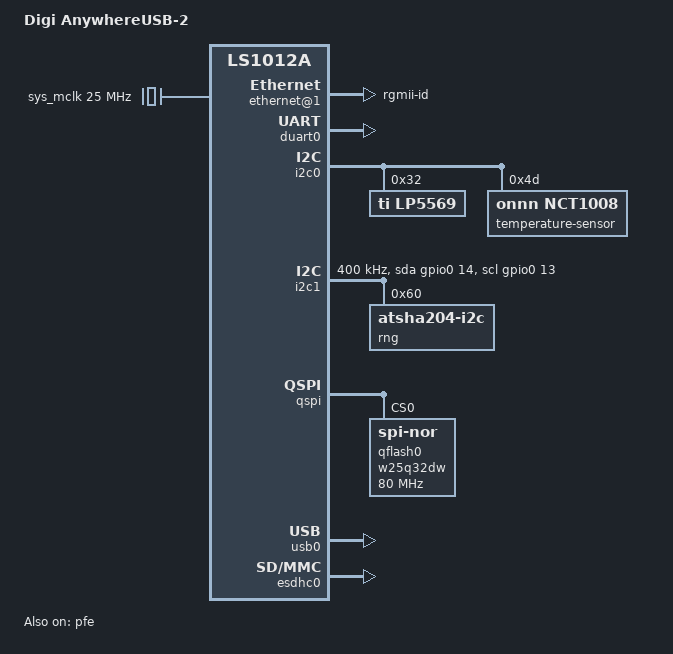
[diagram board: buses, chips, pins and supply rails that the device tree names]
// SPDX-License-Identifier: (GPL-2.0+ OR MIT)
/*
 * Device Tree Include file for Digi AnywhereUSB-2.
 *
 * Copyright 2016 Freescale Semiconductor, Inc.
 * Copyright 2018 Digi Inc.
 *
 * Mingkai Hu <mingkai.hu@nxp.com>
 * Greg Ungerer <gregory.ungerer@digi.com>
 */

/dts-v1/;

#include "fsl-ls1012a.dtsi"
#include <dt-bindings/interrupt-controller/arm-gic.h>
#include <dt-bindings/gpio/gpio.h>
#include <dt-bindings/leds/common.h>
#include "fsl-pstore-512MB.dtsi"

/ {
	model = "Digi AnywhereUSB-2";
	compatible = "digi,anywhereusb2", "fsl,ls1012a";

	aliases {
		serial0 = &duart0;
	};

	chosen {
		stdout-path = "serial0:115200n8";
	};

	sys_mclk: clock-mclk {
		compatible = "fixed-clock";
		#clock-cells = <0>;
		clock-frequency = <25000000>;
	};

	soc {
		rcpm@1ee2000 {
			compatible = "fsl,ls1012a-rcpm", "fsl,qoriq-rcpm-2.1";
			reg = <0x0 0x1ee2000 0x0 0x1000>;
			fsl,#rcpm-wakeup-cells = <1>;
		};
	};

	reserved-memory {
		#address-cells = <2>;
		#size-cells = <2>;
		ranges;

		pfe_reserved: packetbuffer@83400000 {
			reg = <0 0x83400000 0 0xc00000>;
		};
	};

	pfe: pfe@04000000 {
		status = "okay";
		compatible = "fsl,pfe";
		reg =   <0x0 0x04000000 0x0 0xc00000>,	/* AXI 16M */
			<0x0 0x83400000 0x0 0xc00000>;  /* PFE DDR 12M */
		reg-names = "pfe", "pfe-ddr";
		fsl,pfe-num-interfaces = <0x2>;
		interrupts = <0 172 0x4>,    /* HIF interrupt */
			     <0 173 0x4>,    /*HIF_NOCPY interrupt */
			     <0 174 0x4>;    /* WoL interrupt */
		interrupt-names = "pfe_hif", "pfe_hif_nocpy", "pfe_wol";
		memory-region = <&pfe_reserved>;
		fsl,pfe-scfg = <&scfg 0>;
		fsl,rcpm-wakeup = <&rcpm 0xf0000020>;
		clocks = <&clockgen 4 0>;
		clock-names = "pfe";
	};
};

&duart0 {
	status = "okay";
};

&i2c0 {
	status = "okay";

	lp5569:lp5569@32 {
		compatible = "ti,lp5569";
		reg = <0x32>;
		label = "lp5569";
		clock-mode = /bits/ 8 <1>;  /* internal */
		#address-cells = <1>;
		#size-cells = <0>;

		chan0 {
			chan-name = "pwr1b";
			led-cur = /bits/ 8 <0x18>;  /* 2.4mA */
			max-cur = /bits/ 8 <0x18>;  /* 2.4mA */
			invert = /bits/ 8 <0x01>;   /* inverted LED */
			color = <LED_COLOR_ID_BLUE>;
			reg = <0>;
			linux,default-trigger = "timer";
		};

		chan1 {
			chan-name = "pwr1g";
			led-cur = /bits/ 8 <0x03>;  /* 0.3mA */
			max-cur = /bits/ 8 <0x18>;  /* 2.4mA */
			color = <LED_COLOR_ID_GREEN>;
			reg = <1>;
			linux,default-trigger = "timer";
		};

		chan2 {
			chan-name = "pwr1r";
			led-cur = /bits/ 8 <0x18>;  /* 2.4mA */
			max-cur = /bits/ 8 <0x18>;  /* 2.4mA */
			color = <LED_COLOR_ID_RED>;
			reg = <2>;
			linux,default-trigger = "timer";
		};

		chan3 {
			chan-name = "b01";
			led-cur = /bits/ 8 <0x18>;  /* 2.4mA */
			max-cur = /bits/ 8 <0x18>;  /* 2.4mA */
			color = <LED_COLOR_ID_BLUE>;
			reg = <3>;
			linux,default-trigger = "timer";
		};

		chan4 {
			chan-name = "g01";
			led-cur = /bits/ 8 <0x03>;  /* 0.3mA */
			max-cur = /bits/ 8 <0x18>;  /* 2.4mA */
			color = <LED_COLOR_ID_GREEN>;
			reg = <4>;
			linux,default-trigger = "timer";
		};

		chan5 {
			chan-name = "r01";
			led-cur = /bits/ 8 <0x18>;  /* 2.4mA */
			max-cur = /bits/ 8 <0x18>;  /* 2.4mA */
			color = <LED_COLOR_ID_RED>;
			reg = <5>;
			linux,default-trigger = "timer";
		};

		chan6 {
			chan-name = "b02";
			led-cur = /bits/ 8 <0x18>;  /* 2.4mA */
			max-cur = /bits/ 8 <0x18>;  /* 2.4mA */
			color = <LED_COLOR_ID_BLUE>;
			reg = <6>;
			linux,default-trigger = "timer";
		};

		chan7 {
			chan-name = "g02";
			led-cur = /bits/ 8 <0x03>;  /* 0.3mA */
			max-cur = /bits/ 8 <0x18>;  /* 2.4mA */
			color = <LED_COLOR_ID_GREEN>;
			reg = <7>;
			linux,default-trigger = "timer";
		};

		chan8 {
			chan-name = "r02";
			led-cur = /bits/ 8 <0x18>;  /* 2.4mA */
			max-cur = /bits/ 8 <0x18>;  /* 2.4mA */
			color = <LED_COLOR_ID_RED>;
			reg = <8>;
			linux,default-trigger = "timer";
		};
	};

	temperature-sensor@4d {
		compatible = "onnn,nct1008"; /* nct72 reg/pin compatible */
		reg = <0x4d>;
	};
};

&i2c1 {
	clock-frequency = <400000>;
	status = "okay";

	scl-gpios = <&gpio0 13 (GPIO_ACTIVE_HIGH | GPIO_OPEN_DRAIN)>;
	sda-gpios = <&gpio0 14 (GPIO_ACTIVE_HIGH | GPIO_OPEN_DRAIN)>;
	pmux-reg-offset = <0x430>;
	pmux-mode-cfg = <0x8B000000 0x00000000 0x80000000>;

	rng: atecc508a@60 {
		compatible = "atsha204-i2c";
		reg = <0x60>;
	};
};

&qspi {
	num-cs = <1>;
	bus-num = <0>;
	status = "okay";

	qflash0: w25q32dw@0 {
		compatible = "jedec,spi-nor";
		#address-cells = <1>;
		#size-cells = <1>;
		spi-max-frequency = <80000000>;
		spi-rx-bus-width = <1>;
		spi-tx-bus-width = <1>;
		reg = <0>;
	};
};

&pfe {
	status = "okay";
	#address-cells = <1>;
	#size-cells = <0>;

	ethernet@1 {
		compatible = "fsl,pfe-gemac-port";
		#address-cells = <1>;
		#size-cells = <0>;
		reg = <0x1>;    /* GEM_ID */
		fsl,gemac-bus-id = <0x1>; /* BUS_ID */
		fsl,gemac-phy-id = <0x0>; /* PHY_ID */
		fsl,mdio-mux-val = <0x0>;
		phy-mode = "rgmii-id"; /* use strapped tx/rx delay */
		fsl,pfe-phy-if-flags = <0x0>;

		mdio {
			reg = <0x1>; /* enabled/disabled */
		};
	};
};

&usb0 {
	status = "okay";
};

&usb1 {
	status = "disabled";
};

&esdhc0 {
	mmc-ddr-1_8v;
	mmc-hs200-1_8v;
	mmc-hs400-1_8v;
	mmc-hs200-1_8v;
	status = "okay";
};

&esdhc1 {
	status = "disabled";
};

&gpio0 {
	gpio-line-names = "", "", "", "", "", "", "", "",
			  "", "", "", "", "", "", "", "",
			  "", "", "", "", "", "", "", "",
			  "factory", "", "", "", "", "", "", "";
};
